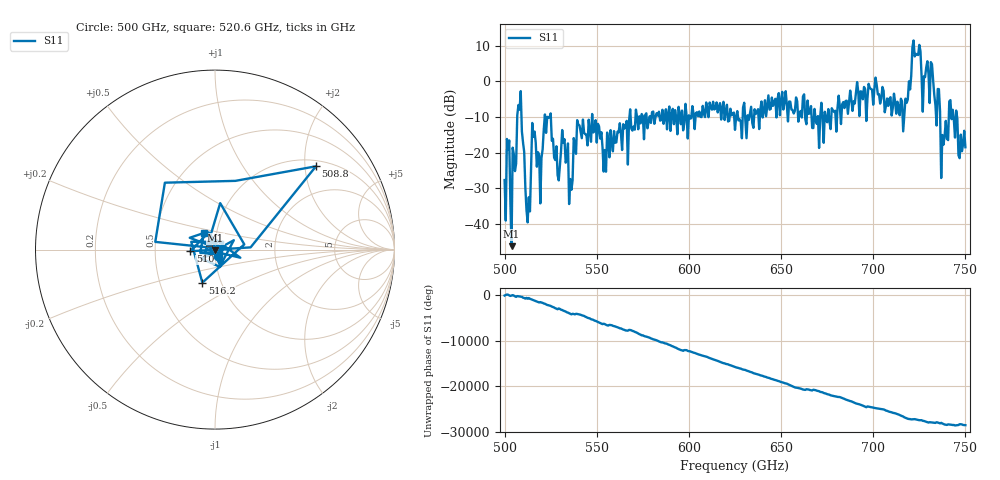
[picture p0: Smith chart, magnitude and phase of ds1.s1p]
# GHz S RI R 50
!freq	ReS11	ImS11
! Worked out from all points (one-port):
!   401 points, 500 GHz to 750 GHz, reference 50 ohm
!   lowest |S11| = -46.3 dB at 503.8 GHz (marker M1), VSWR 1.01, Z = 50.2 - j0.444 ohm
!   |S11| at or under -10 dB: 509.2 GHz to 521.8 GHz (12.62 GHz wide, 2.45 % of centre); 525.1 GHz to 547.4 GHz (22.35 GHz wide, 4.17 % of centre); 547.6 GHz to 567.7 GHz (20.13 GHz wide, 3.61 % of centre) (the widest 3 of 57)
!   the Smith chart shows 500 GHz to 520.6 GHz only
!   S11 on the Smith chart (normalised r, x): 500 GHz: 1.03, -0.08; 508.8 GHz: 1.15, +2.28; 510 GHz: 0.76, -0.01; 516.2 GHz: 0.81, -0.31; 520.6 GHz: 0.87, +0.16
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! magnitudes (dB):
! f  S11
! 500 GHz  -27.7
! 503.8 GHz  -46.3
! 508.8 GHz  -2.7
! 510 GHz  -17.2
! 512.5 GHz  -39.6
! 516.2 GHz  -14.1
! 518.8 GHz  -20.7
! 520.6 GHz  -19.1
! 523.1 GHz  -10.0
! 528.1 GHz  -18.2
! 531.2 GHz  -13.7
! 535.6 GHz  -27.4
! 540.6 GHz  -12.4
! 550 GHz  -17.2
! 553.8 GHz  -25.3
! 562.5 GHz  -11.8
! 593.8 GHz  -14.9
! 625 GHz  -13.6
! 656.2 GHz  -8.1
! 671.9 GHz  -6.0
! 687.5 GHz  -2.6
! 718.8 GHz  -5.1
! 724.4 GHz  7.4
! 727.5 GHz  1.4
! 732.5 GHz  0.3
! 737.5 GHz  -15.1
! 742.5 GHz  -10.6
! 750 GHz  -18.5
